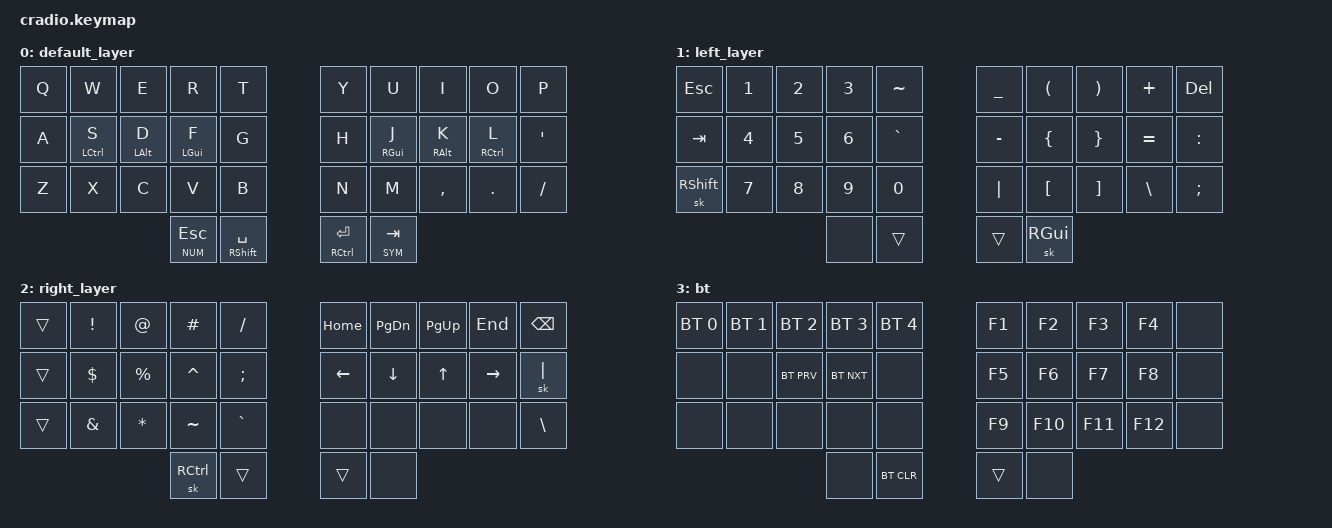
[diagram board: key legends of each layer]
#include <behaviors.dtsi>
#include <dt-bindings/zmk/bt.h>
#include <dt-bindings/zmk/keys.h>
#include <dt-bindings/zmk/mouse.h>
#define TAPPING_TIME 25


#define BASE 0
#define NUM 1
#define SYM 2
#define BTT 3

&mt {
    flavor = "tap-preferred";
    tapping_term_ms = <200>;
};

&sl {
    release-after-ms = <2000>;
};

&lt {
    tapping-term-ms = <200>;
};



/ {
    behaviors {
        ht: hold_tap {
            label = "hold_tap";
            compatible = "zmk,behavior-hold-tap";
            #binding-cells = <2>;
            flavor = "tap-preferred";
            tapping-term-ms = <220>;
            quick-tap-ms = <150>;
            bindings = <&kp>, <&kp>;
        };
    };

    /*                KEY POSITIONS

        ╭────────────────────╮ ╭────────────────────╮
        │  0   1   2   3   4 │ │  5   6   7   8   9 │
        │ 10  11  12  13  14 │ │ 15  16  17  18  19 │
        │ 20  21  22  23  24 │ │ 25  26  27  28  29 │
        ╰───────────╮ 30  31 │ │ 32  33 ╭───────────╯
                    ╰────────╯ ╰────────╯            */

    combos {
        compatible = "zmk,combos";
        combo_lck {
            timeout-ms = <50>;
            key-positions = <26 27>;
            bindings = <&mkp LCLK>;
        };
       
        combo_rck {
            timeout-ms = <50>;
            key-positions = <28 29>;
            bindings = <&mkp RCLK>;
        };

        combo_layer {
            timeout-ms = <50>;
            key-positions = <30 33>;
            bindings = <&mo BTT>;
        };
        
        combo_bt0 {
            timeout-ms = <50>;
            key-positions = <1 3>;
            bindings = <&bt BT_SEL 0>;
        };
        combo_bt1 {
            timeout-ms = <50>;
            key-positions = <11 13>;
            bindings = <&bt BT_SEL 1>;
        };
        combo_bt2 {
            timeout-ms = <50>;
            key-positions = <21 23>;
            bindings = <&bt BT_SEL 2>;
        };
        combo_bt3 {
            timeout-ms = <50>;
            key-positions = <6 8>;
            bindings = <&bt BT_SEL 3>;
        };
        combo_bt4 {
            timeout-ms = <50>;
            key-positions = <16 18>;
            bindings = <&bt BT_SEL 4>;
        };
    };

    keymap {
        compatible = "zmk,keymap";

        default_layer {
            bindings = <
                &kp Q  &kp W       &kp E      &kp R           &kp T              &kp Y            &kp U                &kp I       &kp O       &kp P
                &kp A  &ht LCTL S  &ht LALT D &ht LGUI F      &kp G              &kp H            &ht RGUI J           &ht RALT K  &ht RCTL L  &kp SQT
                &kp Z  &kp X       &kp C      &kp V           &kp B              &kp N            &kp M                &kp COMMA   &kp DOT     &kp FSLH
                                              &lt NUM ESC     &ht RSHFT SPACE    &ht RCTRL ENTER  &lt SYM TAB
            >;
        };

        // NUM
        left_layer {
            bindings = <
                &kp ESC    &kp N1  &kp N2  &kp N3  &kp TILDE     &kp UNDERSCORE &kp LPAR  &kp RPAR  &kp PLUS  &kp DEL
                &kp TAB    &kp N4  &kp N5  &kp N6  &kp GRAVE     &kp MINUS      &kp LBRC  &kp RBRC  &kp EQUAL &kp COLON
                &sk RSHFT  &kp N7  &kp N8  &kp N9  &kp N0        &kp PIPE       &kp LBKT  &kp RBKT  &kp BSLH  &kp SEMI
                                           &none   &trans        &trans         &sk RGUI
            >;
        };

        // SYM
        right_layer {
            bindings = <
                &trans  &kp EXCL    &kp AT       &kp HASH   &kp FSLH    &kp HOME  &kp PG_DN  &kp PG_UP  &kp END     &kp BKSP
                &trans  &kp DOLLAR  &kp PERCENT  &kp CARET  &kp SEMI    &kp LEFT  &kp DOWN   &kp UP     &kp RIGHT   &sk PIPE
                &trans  &kp AMPS    &kp STAR     &kp TILDE  &kp GRAVE   &none     &none      &none      &none       &kp BSLH
                                                 &sk RCTRL  &trans      &trans    &none
            >;
        };

        bt {
            bindings = <
                    &bt BT_SEL 0 &bt BT_SEL 1 &bt BT_SEL 2 &bt BT_SEL 3  &bt BT_SEL 4     &kp F1    &kp F2     &kp F3  &kp F4    &none
                    &none        &none        &bt BT_PRV   &bt BT_NXT    &none            &kp F5    &kp F6     &kp F7  &kp F8    &none
                    &none        &none        &none        &none         &none            &kp F9    &kp F10    &kp F11 &kp F12   &none
                                                           &none         &bt BT_CLR       &trans &none
            >;
        };
    };
};
